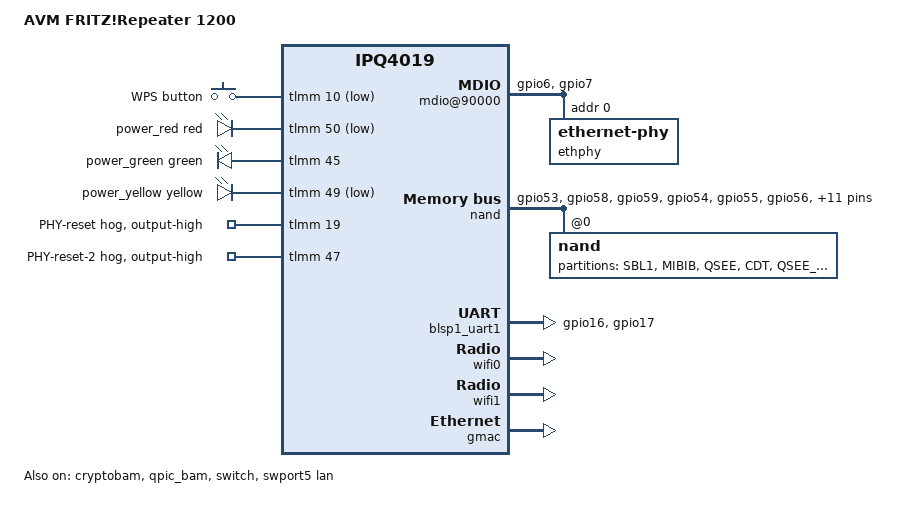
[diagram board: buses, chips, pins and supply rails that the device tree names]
// SPDX-License-Identifier: GPL-2.0-or-later OR MIT

#include "qcom-ipq4019.dtsi"
#include <dt-bindings/gpio/gpio.h>
#include <dt-bindings/input/input.h>
#include <dt-bindings/leds/common.h>
#include <dt-bindings/soc/qcom,tcsr.h>

/ {
	model = "AVM FRITZ!Repeater 1200";
	compatible = "avm,fritzrepeater-1200";

	aliases {
		led-boot = &power_green;
		led-failsafe = &power_red;
		led-running = &power_green;
		led-upgrade = &power_red;
		label-mac-device = &wifi0;
	};

	soc {
		rng@22000 {
			status = "okay";
		};

		mdio@90000 {
			status = "okay";
			pinctrl-0 = <&mdio_pins>;
			pinctrl-names = "default";

			ethphy: ethernet-phy@0 {
				reg = <0x0>;
			};
		};

		tcsr@1949000 {
			compatible = "qcom,tcsr";
			reg = <0x1949000 0x100>;
			qcom,wifi_glb_cfg = <TCSR_WIFI_GLB_CFG>;
		};

		ess_tcsr@1953000 {
			compatible = "qcom,tcsr";
			reg = <0x1953000 0x1000>;
			qcom,ess-interface-select = <TCSR_ESS_PSGMII_RGMII5>;
		};

		tcsr@1957000 {
			compatible = "qcom,tcsr";
			reg = <0x1957000 0x100>;
			qcom,wifi_noc_memtype_m0_m2 = <TCSR_WIFI_NOC_MEMTYPE_M0_M2>;
		};

		crypto@8e3a000 {
			status = "okay";
		};

		watchdog@b017000 {
			status = "okay";
		};
	};

	key {
		compatible = "gpio-keys";

		wps {
			label = "WPS button";
			gpios = <&tlmm 10 GPIO_ACTIVE_LOW>;
			linux,code = <KEY_WPS_BUTTON>;
		};
	};

	leds {
		compatible = "gpio-leds";

		power_red: power_red {
			function = LED_FUNCTION_POWER;
			color = <LED_COLOR_ID_RED>;
			gpios = <&tlmm 50 GPIO_ACTIVE_LOW>;
		};

		power_green: power_green {
			function = LED_FUNCTION_POWER;
			color = <LED_COLOR_ID_GREEN>;
			gpios = <&tlmm 45 GPIO_ACTIVE_HIGH>;
		};

		power_yellow {
			function = LED_FUNCTION_POWER;
			color = <LED_COLOR_ID_YELLOW>;
			gpios = <&tlmm 49 GPIO_ACTIVE_LOW>;
		};
	};
};

&tlmm {
	serial_0_pins: serial_pinmux {
		mux {
			pins = "gpio16", "gpio17";
			function = "blsp_uart0";
			bias-disable;
		};
	};

	nand_pins: nand_pins {
		pullups {
			pins = "gpio53", "gpio58", "gpio59";
			function = "qpic";
			bias-pull-up;
		};

		pulldowns {
			pins = "gpio54", "gpio55", "gpio56",
				"gpio57", "gpio60", "gpio61",
				"gpio62", "gpio63", "gpio64",
				"gpio65", "gpio66", "gpio67",
				"gpio68", "gpio69";
			function = "qpic";
			bias-pull-down;
		};
	};

	mdio_pins: mdio_pinmux {
		mux_1 {
			pins = "gpio6";
			function = "mdio";
			bias-pull-up;
		};
		mux_2 {
			pins = "gpio7";
			function = "mdc";
			bias-pull-up;
		};
	};

	phy-reset {
		line-name = "PHY-reset";
		gpios = <19 GPIO_ACTIVE_HIGH>;
		gpio-hog;
		output-high;
	};

	phy-reset-2 {
		line-name = "PHY-reset-2";
		gpios = <47 GPIO_ACTIVE_HIGH>;
		gpio-hog;
		output-high;
	};
};

&nand {
	pinctrl-0 = <&nand_pins>;
	pinctrl-names = "default";
	status = "okay";

	nand@0 {
		partitions {
			compatible = "fixed-partitions";
			#address-cells = <1>;
			#size-cells = <1>;

			partition@0 {
				label = "SBL1";
				reg = <0x0 0x80000>;
				read-only;
			};

			partition@80000 {
				label = "MIBIB";
				reg = <0x80000 0x80000>;
				read-only;
			};

			partition@100000 {
				label = "QSEE";
				reg = <0x100000 0x80000>;
				read-only;
			};

			partition@180000 {
				label = "CDT";
				reg = <0x180000 0x40000>;
				read-only;
			};

			partition@1c0000 {
				label = "QSEE_B";
				reg = <0x1c0000 0x80000>;
				read-only;
			};

			partition@240000 {
				label = "urlader0";
				reg = <0x240000 0x40000>;
				read-only;
			};

			partition@280000 {
				label = "urlader1";
				reg = <0x280000 0x40000>;
				read-only;
			};

			partition@2c0000 {
				label = "nand-tffs";
				reg = <0x2c0000 0x840000>;
				read-only;
			};

			partition@b00000 {
				/* 'kernel1' in AVM firmware */
				label = "uboot0";
				reg = <0xb00000 0x400000>;
			};

			partition@f00000 {
				/* 'kernel2' in AVM firmware */
				label = "uboot1";
				reg = <0xf00000 0x400000>;
			};

			partition@1300000 {
				label = "ubi";
				reg = <0x1300000 0x6d00000>;
			};
		};
	};
};

&cryptobam {
	status = "okay";
};

&blsp_dma {
	status = "okay";
};

&blsp1_uart1 {
	pinctrl-0 = <&serial_0_pins>;
	pinctrl-names = "default";
	status = "okay";
};

&qpic_bam {
	status = "okay";
};

&wifi0 {
	status = "okay";
	qcom,ath10k-calibration-variant = "AVM-FRITZRepeater-1200";
};

&wifi1 {
	status = "okay";
	qcom,ath10k-calibration-variant = "AVM-FRITZRepeater-1200";
};

&gmac {
	status = "okay";
};

&switch {
	status = "okay";

	/delete-property/ psgmii-ethphy;
};

&swport5 {
	status = "okay";

	label = "lan";
	phy-handle = <&ethphy>;
	phy-mode = "rgmii-id";
};

&ethphy1 {
	status = "disabled";
};

&ethphy2 {
	status = "disabled";
};

&ethphy3 {
	status = "disabled";
};

&ethphy4 {
	status = "disabled";
};

&psgmiiphy {
	status = "disabled";
};
